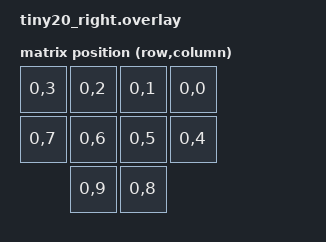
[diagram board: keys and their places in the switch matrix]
/*
 * Copyright (c) 2022 The ZMK Contributors
 *
 * SPDX-License-Identifier: MIT
 */

#include "tiny20.dtsi"

&default_transform {
	col-offset = <10>;
};

/ {
	chosen {
		zmk,physical-layout = &physical_layout_right;
		zmk,matrix_transform = &right_transform;
	};

	right_transform: matrix_transform_right {
		compatible = "zmk,matrix-transform";
		columns = <10>;
		rows = <1>;
		map = <
			RC(0,3) RC(0,2) RC(0,1) RC(0,0)
			RC(0,7) RC(0,6) RC(0,5) RC(0,4)
			        RC(0,9) RC(0,8)
		>;
	};

	physical_layout_right: physical_layout_right {
		compatible = "zmk,physical-layout";
		display-name = "Right Half";
		transform = <&right_transform>;
		kscan = <&kscan0>;
		keys
			= <&key_physical_attrs 100 100 600   0>
			, <&key_physical_attrs 100 100 700   0>
			, <&key_physical_attrs 100 100 800   0>
			, <&key_physical_attrs 100 100 900   0>
			, <&key_physical_attrs 100 100 600 100>
			, <&key_physical_attrs 100 100 700 100>
			, <&key_physical_attrs 100 100 800 100>
			, <&key_physical_attrs 100 100 900 100>
			, <&key_physical_attrs 175 100 600 200>
			, <&key_physical_attrs 125 100 775 200>
			;
	};
};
